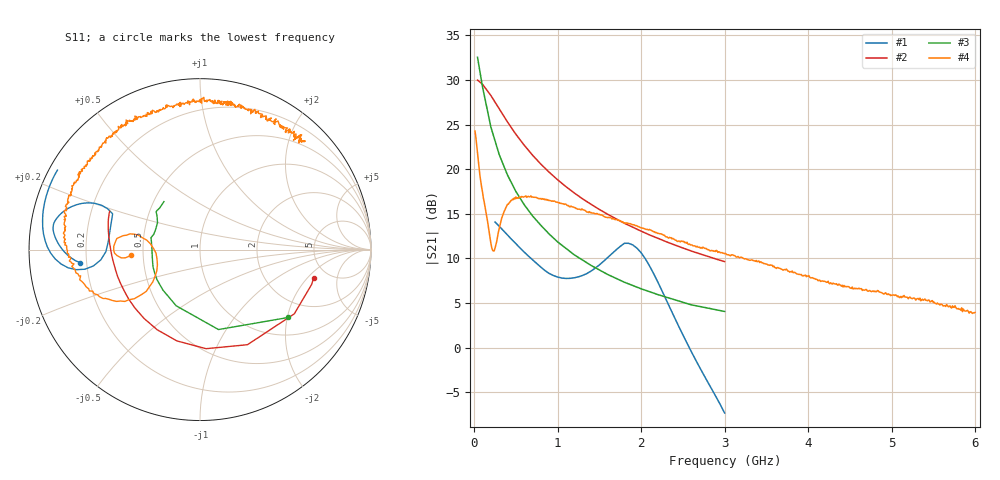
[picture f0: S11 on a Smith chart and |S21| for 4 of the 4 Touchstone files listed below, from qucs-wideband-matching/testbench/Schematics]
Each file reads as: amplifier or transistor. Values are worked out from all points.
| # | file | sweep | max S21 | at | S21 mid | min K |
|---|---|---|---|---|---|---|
| 1 | MMG3005N_SP.s2p | 250 MHz to 3 GHz | 14.1 dB | 250 MHz | 10.5 dB at 1.65 GHz | 1.48 |
| 2 | Spar_BFG325WXR_3V15mA.s2p | 40 MHz to 3 GHz | 30.0 dB | 40 MHz | 15.5 dB at 1.5 GHz | 0.11 |
| 3 | Spar_BFR540_commonemitter8V30mA.s2p | 40 MHz to 3 GHz | 32.5 dB | 40 MHz | 11.9 dB at 1 GHz | 0.32 |
| 4 | TQP7M9101.s2p | 10 MHz to 6 GHz | 24.3 dB | 10 MHz | 10.6 dB at 3.01 GHz | 0.96 |

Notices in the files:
qucs/qucs-wideband-matching/testbench/Schematics/MMG3005N_SP.s2p:
Copyright - Freescale Semiconductor, Inc., 2005-2006.
